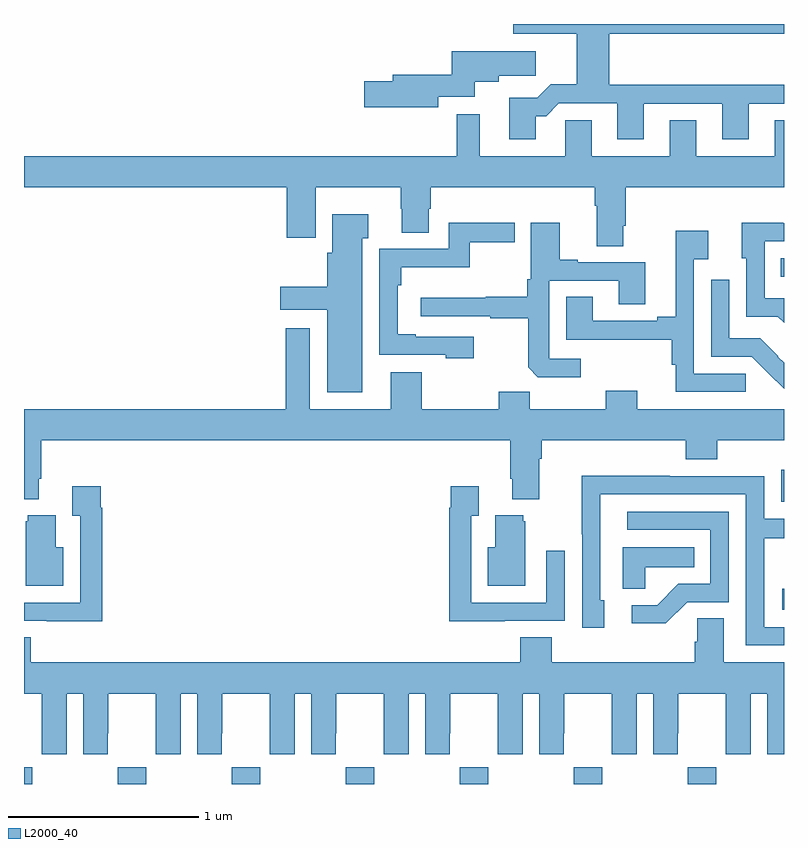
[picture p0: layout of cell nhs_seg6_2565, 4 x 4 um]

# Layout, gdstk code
import gdstk
lib = gdstk.Library(unit=1e-6, precision=1e-09)
def R(c, l, rs):  # rectangles x0, y0, x1, y1
    for r in rs: c.add(gdstk.rectangle(r[:2], r[2:], *l))
def A(c, l, x, y, w, h, nx, ny, dx, dy):  # array of equal rectangles
    R(c, l, [(x+i*dx, y+j*dy, x+i*dx+w, y+j*dy+h) for i in range(nx) for j in range(ny)])
def P(c, l, *ps):  # polygons
    for p in ps: c.add(gdstk.Polygon(p, *l))
L2000_40 = (2000, 40)

nhs_seg6_2565 = lib.new_cell('nhs_seg6_2565')
A(nhs_seg6_2565, L2000_40, 263.493, 973.5, 0.15, 0.088, 6, 1, 0.6, 0)
R(nhs_seg6_2565, L2000_40, [(263,973.5,263.043,973.588), (266.991,974.417,267,974.527), (266.985,974.985,267,975.154), (266.983,976.17,267,976.266)])
P(nhs_seg6_2565, L2000_40, [(265.693,977.015),(265.748,977.015),(265.815,977.082),(266.123,977.082),(266.123,976.893),(266.263,976.893),(266.263,977.079),(266.675,977.079),(266.675,976.893),(266.815,976.893),(266.815,977.079),(267,977.079),(267,977.18),(266.081,977.18),(266.081,977.45),(267,977.45),(267,977.5),(265.574,977.5),(265.574,977.45),(265.91,977.45),(265.91,977.183),(265.772,977.183),(265.702,977.113),(265.553,977.113),(265.553,976.893),(265.693,976.893)],
  [(265.18,977.118),(265.372,977.118),(265.372,977.195),(265.498,977.195),(265.498,977.227),(265.693,977.227),(265.693,977.356),(265.25,977.356),(265.25,977.234),(264.941,977.234),(264.941,977.198),(264.792,977.198),(264.792,977.063),(265.18,977.063)],
  [(266.155,976.438),(266.168,976.438),(266.168,976.64),(267,976.64),(267,976.994),(266.951,976.994),(266.951,976.804),(266.539,976.804),(266.539,976.994),(266.399,976.994),(266.399,976.804),(265.987,976.804),(265.987,976.994),(265.848,976.994),(265.848,976.804),(265.399,976.804),(265.399,977.026),(265.278,977.026),(265.278,976.804),(263,976.804),(263,976.64),(264.383,976.64),(264.383,976.374),(264.535,976.374),(264.535,976.64),(264.982,976.64),(264.982,976.527),(264.989,976.527),(264.989,976.402),(265.129,976.402),(265.129,976.527),(265.142,976.527),(265.142,976.64),(266.003,976.64),(266.003,976.544),(266.015,976.544),(266.015,976.33),(266.155,976.33)],
  [(264.781,976.373),(264.811,976.373),(264.811,976.498),(264.623,976.498),(264.623,976.296),(264.596,976.296),(264.596,976.117),(264.348,976.117),(264.348,975.995),(264.596,975.995),(264.596,975.563),(264.781,975.563)],
  [(265.366,975.855),(265.063,975.855),(265.063,975.868),(264.966,975.868),(264.966,976.124),(264.986,976.124),(264.986,976.22),(265.345,976.22),(265.345,976.351),(265.582,976.351),(265.582,976.454),(265.236,976.454),(265.236,976.317),(264.87,976.317),(264.87,975.759),(265.221,975.759),(265.221,975.74),(265.366,975.74)],
  [(267,976.056),(266.898,976.056),(266.898,976.356),(267,976.356),(267,976.452),(266.995,976.452),(266.995,976.454),(266.777,976.454),(266.777,976.266),(266.802,976.266),(266.802,975.96),(266.968,975.96),(267,975.928)],
  [(265.93,975.738),(265.764,975.738),(265.764,976.149),(266.129,976.149),(266.129,976.024),(266.269,976.024),(266.269,976.245),(265.915,976.245),(265.915,976.258),(265.819,976.258),(265.819,976.453),(265.668,976.453),(265.668,976.156),(265.648,976.156),(265.648,976.064),(265.429,976.064),(265.429,976.06),(265.089,976.06),(265.089,975.963),(265.453,975.963),(265.453,975.951),(265.653,975.951),(265.653,975.693),(265.705,975.642),(265.93,975.642)],
  [(266.799,975.66),(266.526,975.66),(266.526,976.262),(266.602,976.262),(266.602,976.411),(266.429,976.411),(266.429,975.959),(266.333,975.959),(266.333,975.939),(265.993,975.939),(265.993,976.064),(265.853,976.064),(265.853,975.838),(266.41,975.838),(266.41,975.707),(266.429,975.707),(266.429,975.564),(266.799,975.564)],
  [(267,975.717),(266.967,975.75),(266.969,975.752),(266.875,975.846),(266.712,975.846),(266.712,976.153),(266.616,976.153),(266.616,975.75),(266.829,975.75),(266.92,975.659),(266.921,975.66),(267,975.581)],
  [(263.077,975.106),(263.09,975.106),(263.09,975.308),(265.559,975.308),(265.559,975.106),(265.571,975.106),(265.571,974.999),(265.711,974.999),(265.711,975.212),(265.724,975.212),(265.724,975.308),(266.483,975.308),(266.483,975.209),(266.648,975.209),(266.648,975.308),(267,975.308),(267,975.472),(266.227,975.472),(266.227,975.571),(266.063,975.571),(266.063,975.472),(265.663,975.472),(265.663,975.565),(265.499,975.565),(265.499,975.472),(265.093,975.472),(265.093,975.667),(264.929,975.667),(264.929,975.472),(264.505,975.472),(264.505,975.898),(264.377,975.898),(264.377,975.472),(263,975.472),(263,974.999),(263.077,974.999)],
  [(267,974.325),(266.895,974.325),(266.895,974.794),(267,974.794),(267,974.895),(266.895,974.895),(266.895,975.12),(266.399,975.12),(266.399,975.122),(265.936,975.122),(265.936,974.815),(265.938,974.815),(265.938,974.322),(266.053,974.322),(266.053,974.466),(266.034,974.466),(266.034,975.024),(266.799,975.024),(266.799,974.229),(267,974.229)],
  [(265.529,974.358),(265.845,974.358),(265.845,974.728),(265.749,974.728),(265.749,974.454),(265.353,974.454),(265.353,974.911),(265.393,974.911),(265.393,975.067),(265.245,975.067),(265.245,974.954),(265.237,974.954),(265.237,974.357),(265.529,974.357)],
  [(263.411,974.954),(263.404,974.954),(263.404,975.067),(263.255,975.067),(263.255,974.911),(263.295,974.911),(263.295,974.454),(263,974.454),(263,974.358),(263.119,974.358),(263.119,974.357),(263.411,974.357)],
  [(266.49,974.457),(266.709,974.457),(266.709,974.934),(266.175,974.934),(266.175,974.838),(266.613,974.838),(266.613,974.553),(266.444,974.553),(266.333,974.442),(266.199,974.442),(266.199,974.345),(266.377,974.345)],
  [(265.639,974.883),(265.628,974.883),(265.628,974.914),(265.481,974.914),(265.481,974.746),(265.442,974.746),(265.442,974.543),(265.639,974.543)],
  [(263.206,974.746),(263.167,974.746),(263.167,974.914),(263.021,974.914),(263.021,974.883),(263.009,974.883),(263.009,974.543),(263.206,974.543)],
  [(266.271,974.642),(266.528,974.642),(266.528,974.746),(266.15,974.746),(266.15,974.527),(266.271,974.527)],
  [(263.224,973.976),(263.312,973.976),(263.312,973.656),(263.442,973.656),(263.442,973.768),(263.443,973.768),(263.443,973.976),(263.693,973.976),(263.693,973.768),(263.694,973.768),(263.694,973.656),(263.824,973.656),(263.824,973.976),(263.912,973.976),(263.912,973.656),(264.042,973.656),(264.042,973.768),(264.043,973.768),(264.043,973.976),(264.293,973.976),(264.293,973.768),(264.294,973.768),(264.294,973.656),(264.424,973.656),(264.424,973.976),(264.512,973.976),(264.512,973.656),(264.642,973.656),(264.642,973.768),(264.643,973.768),(264.643,973.976),(264.893,973.976),(264.893,973.768),(264.894,973.768),(264.894,973.656),(265.024,973.656),(265.024,973.976),(265.112,973.976),(265.112,973.656),(265.242,973.656),(265.242,973.768),(265.243,973.768),(265.243,973.976),(265.493,973.976),(265.493,973.768),(265.494,973.768),(265.494,973.656),(265.624,973.656),(265.624,973.976),(265.712,973.976),(265.712,973.656),(265.842,973.656),(265.842,973.768),(265.843,973.768),(265.843,973.976),(266.093,973.976),(266.093,973.768),(266.094,973.768),(266.094,973.656),(266.224,973.656),(266.224,973.976),(266.312,973.976),(266.312,973.656),(266.442,973.656),(266.442,973.768),(266.443,973.768),(266.443,973.976),(266.693,973.976),(266.693,973.768),(266.694,973.768),(266.694,973.656),(266.824,973.656),(266.824,973.976),(266.912,973.976),(266.912,973.656),(267,973.656),(267,974.14),(266.683,974.14),(266.683,974.372),(266.544,974.372),(266.544,974.249),(266.531,974.249),(266.531,974.14),(265.778,974.14),(265.778,974.273),(265.613,974.273),(265.613,974.14),(263.036,974.14),(263.036,974.273),(263,974.273),(263,973.976),(263.093,973.976),(263.093,973.768),(263.094,973.768),(263.094,973.656),(263.224,973.656)])

lib.write_gds('nhs_seg6_2565.gds')
